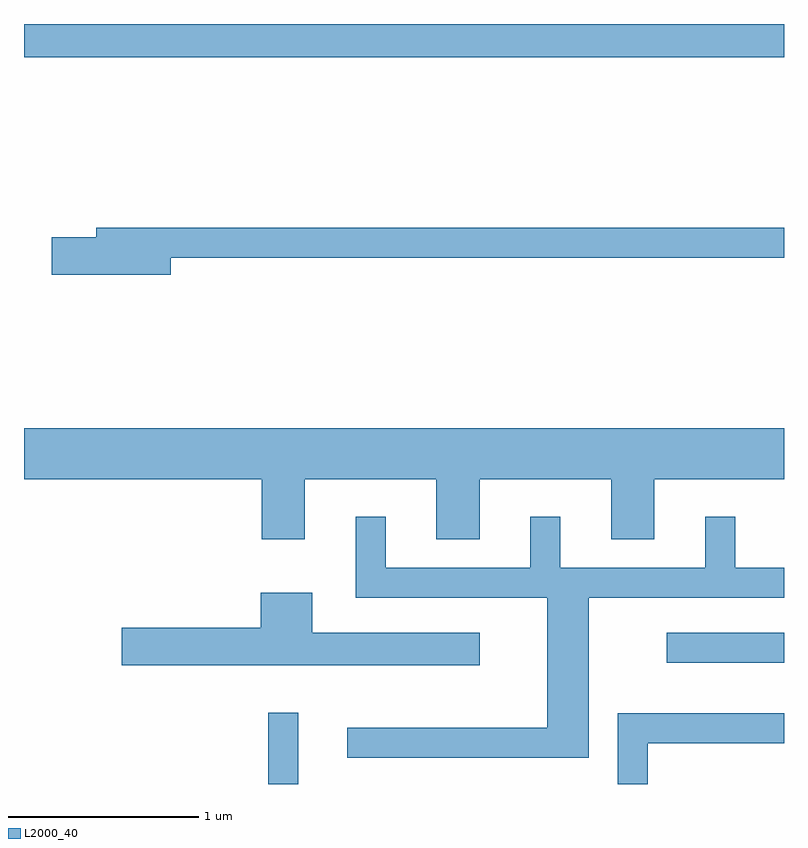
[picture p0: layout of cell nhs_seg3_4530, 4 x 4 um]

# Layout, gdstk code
import gdstk
lib = gdstk.Library(unit=1e-6, precision=1e-09)
def R(c, l, rs):  # rectangles x0, y0, x1, y1
    for r in rs: c.add(gdstk.rectangle(r[:2], r[2:], *l))
def P(c, l, *ps):  # polygons
    for p in ps: c.add(gdstk.Polygon(p, *l))
L2000_40 = (2000, 40)

nhs_seg3_4530 = lib.new_cell('nhs_seg3_4530')
R(nhs_seg3_4530, L2000_40, [(318.896,1199.892,319.054,1200.268), (320.993,1200.531,321.611,1200.689), (317.611,1203.716,321.611,1203.892)])
P(nhs_seg3_4530, L2000_40, [(318.384,1202.661),(321.611,1202.661),(321.611,1202.819),(317.991,1202.819),(317.991,1202.769),(317.756,1202.769),(317.756,1202.571),(318.384,1202.571)],
  [(319.089,1201.496),(319.781,1201.496),(319.781,1201.181),(320.009,1201.181),(320.009,1201.496),(320.701,1201.496),(320.701,1201.181),(320.929,1201.181),(320.929,1201.496),(321.611,1201.496),(321.611,1201.764),(317.611,1201.764),(317.611,1201.496),(318.861,1201.496),(318.861,1201.181),(319.089,1201.181)],
  [(320.584,1200.871),(321.611,1200.871),(321.611,1201.029),(321.354,1201.029),(321.354,1201.298),(321.196,1201.298),(321.196,1201.029),(320.434,1201.029),(320.434,1201.298),(320.276,1201.298),(320.276,1201.029),(319.514,1201.029),(319.514,1201.298),(319.356,1201.298),(319.356,1200.871),(320.366,1200.871),(320.366,1200.189),(319.313,1200.189),(319.313,1200.031),(320.584,1200.031)],
  [(320.009,1200.689),(319.129,1200.689),(319.129,1200.899),(318.856,1200.899),(318.856,1200.714),(318.126,1200.714),(318.126,1200.516),(320.009,1200.516)],
  [(320.894,1200.106),(321.611,1200.106),(321.611,1200.264),(320.736,1200.264),(320.736,1199.892),(320.894,1199.892)])

lib.write_gds('nhs_seg3_4530.gds')
